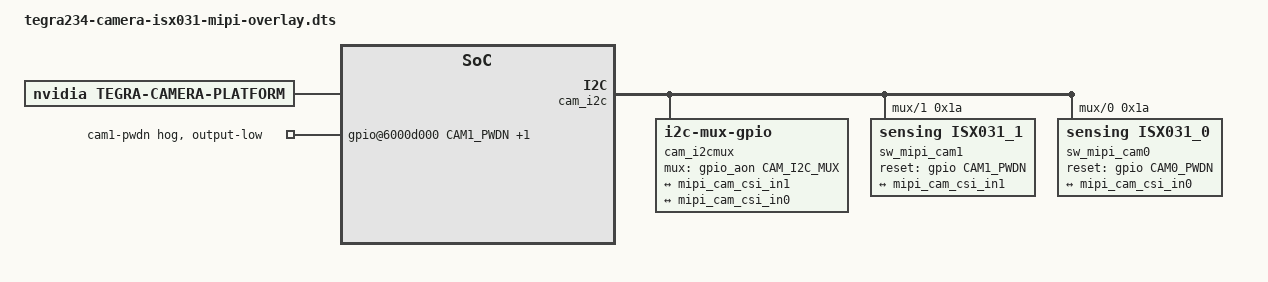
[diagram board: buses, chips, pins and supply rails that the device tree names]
// SPDX-License-Identifier: GPL-2.0-only
// SPDX-FileCopyrightText: Copyright (c) 2023-2024, NVIDIA CORPORATION & AFFILIATES. All rights reserved.

/dts-v1/;
/plugin/;

#define CAM0_PWDN	TEGRA234_MAIN_GPIO(H, 6)
#define CAM1_PWDN	TEGRA234_MAIN_GPIO(AC, 0)
#define CAM_I2C_MUX 	TEGRA234_AON_GPIO(CC, 3)

#include <dt-bindings/tegra234-p3767-0000-common.h>

/ {
	overlay-name = "Camera SG3-MIPI-ISX031";
	jetson-header-name = "Jetson 24pin CSI Connector";
	compatible = JETSON_COMPATIBLE_P3768;
	/* SG2-MIPI-isx031 connected to cam1 port */

	fragment@0 {
		target-path = "/";
		__overlay__ {
			tegra-capture-vi  {
				num-channels = <2>;
				ports {
					#address-cells = <1>;
					#size-cells = <0>;
					port@0 {
						reg = <0>;
						mipi_cam_vi_in0: endpoint {
							port-index = <2>;
							bus-width = <2>;
							remote-endpoint = <&mipi_cam_csi_out0>;
						};
					};
					port@1 {
						reg = <1>;
						mipi_cam_vi_in1: endpoint {
							port-index = <2>;
							bus-width = <4>;
							remote-endpoint = <&mipi_cam_csi_out1>;
						};
					};
				};
			};
			tegra-camera-platform {
				compatible = "nvidia, tegra-camera-platform";

				/**
				* Physical settings to calculate max ISO BW
				*
				* num_csi_lanes = <>;
				* Total number of CSI lanes when all cameras are active
				*
				* max_lane_speed = <>;
				* Max lane speed in Kbit/s
				*
				* min_bits_per_pixel = <>;
				* Min bits per pixel
				*
				* vi_peak_byte_per_pixel = <>;
				* Max byte per pixel for the VI ISO case
				*
				* vi_bw_margin_pct = <>;
				* Vi bandwidth margin in percentage
				*
				* max_pixel_rate = <>;
				* Max pixel rate in Kpixel/s for the ISP ISO case
				*
				* isp_peak_byte_per_pixel = <>;
				* Max byte per pixel for the ISP ISO case
				*
				* isp_bw_margin_pct = <>;
				* Isp bandwidth margin in percentage
				*/
				num_csi_lanes = <4>;
				max_lane_speed = <1500000>;
				min_bits_per_pixel = <10>;
				vi_peak_byte_per_pixel = <2>;
				vi_bw_margin_pct = <25>;
				max_pixel_rate = <7500000>;
				isp_peak_byte_per_pixel = <5>;
				isp_bw_margin_pct = <25>;

				/**
				 * The general guideline for naming badge_info contains 3 parts, and is as follows,
				 * The first part is the camera_board_id for the module; if the module is in a FFD
				 * platform, then use the platform name for this part.
				 * The second part contains the position of the module, ex. "rear" or "front".
				 * The third part contains the last 6 characters of a part number which is found
				 * in the module's specsheet from the vendor.
				 */
				modules {
					module0 {
						
						badge = "sgx_rear_isx031";
						position = "rear";
						orientation = "1";
						drivernode0 {
							pcl_id = "v4l2_sensor";
							sysfs-device-tree = "/sys/firmware/devicetree/base/bus@0/cam_i2cmux/i2c@1/cam_0@1a";
						};
					};
					module1 {
						badge = "sgx_front_isx031";
						position = "front";
						orientation = "1";
						drivernode0 {
							pcl_id = "v4l2_sensor";
							sysfs-device-tree = "/sys/firmware/devicetree/base/bus@0/cam_i2cmux/i2c@0/cam_1@1a";
						};
					};
				};
			};
			bus@0 {
				host1x@13e00000 {
					nvcsi@15a00000 {
						num-channels = <2>;
						#address-cells = <1>;
						#size-cells = <0>;
						channel@0 {
							reg = <0>;
							ports {
								#address-cells = <1>;
								#size-cells = <0>;
								port@0 {
									reg = <0>;
									mipi_cam_csi_in0: endpoint@0 {
										port-index = <2>;
										bus-width = <2>;
										remote-endpoint = <&mipi_cam_out0>;
									};
								};
								port@1 {
									reg = <1>;
									mipi_cam_csi_out0: endpoint@1 {
										remote-endpoint = <&mipi_cam_vi_in0>;
									};
								};
							};
						};
						channel@1 {
							reg = <1>;
							ports {
								#address-cells = <1>;
								#size-cells = <0>;
								port@0 {
									reg = <0>;
									mipi_cam_csi_in1: endpoint@2 {
										port-index = <2>;
										bus-width = <4>;
										remote-endpoint = <&mipi_cam_out1>;
									};
								};
								port@1 {
									reg = <1>;
									mipi_cam_csi_out1: endpoint@3 {
										remote-endpoint = <&mipi_cam_vi_in1>;
									};
								};
							};
						};
					};
				};
				cam_i2cmux {
					status = "okay";
					compatible = "i2c-mux-gpio";
					#address-cells = <1>;
					#size-cells = <0>;
					mux-gpios = <&gpio_aon CAM_I2C_MUX GPIO_ACTIVE_HIGH>;
					i2c-parent = <&cam_i2c>;
					i2c@0 {
						status = "okay";
						reg = <1>;
						#address-cells = <1>;
						#size-cells = <0>;
						rbpcv2_imx219_a@10 {
							status = "disabled";
						};

						sw_mipi_cam1: cam_1@1a {
							compatible = "sensing,isx031_1";
							/* I2C device address */
							reg = <0x1a>;

							/* V4L2 device node location */
							devnode = "video1";

							/* Physical dimensions of sensor */
							physical_w = "3.680";
							physical_h = "2.760";

							sensor_model = "isx031";				
							
							/* Defines number of frames to be dropped by driver internally after applying */
							/* sensor crop settings. Some sensors send corrupt frames after applying */
							/* crop co-ordinates */
							post_crop_frame_drop = "0";

							/* Convert Gain to unit of dB (decibel) befor passing to kernel driver */
							use_decibel_gain = "true";

							/* if true, delay gain setting by one frame to be in sync with exposure */
							delayed_gain = "true";

							/* enable CID_SENSOR_MODE_ID for sensor modes selection */

							use_sensor_mode_id = "true";

							reset-gpios = <&gpio CAM1_PWDN GPIO_ACTIVE_HIGH>;

							mode0 {/*mode SENSOR_MODE_1920X1080_CROP_30FPS*/
								mclk_khz = "24000";
								num_lanes = "4";
								tegra_sinterface = "serial_c";
								phy_mode = "DPHY";
								discontinuous_clk = "no";
								dpcm_enable = "false";
								cil_settletime = "0";
								lane_polarity = "0";

								active_w = "1920";
								active_h = "1536";
								mode_type = "yuv";
								pixel_phase = "uyvy";
								csi_pixel_bit_depth = "16";
								dynamic_pixel_bit_depth = "16";
								readout_orientation = "0";
								line_length = "2200";
								inherent_gain = "1";
								mclk_multiplier = "6.1875";
								pix_clk_hz = "216000000";
								//serdes_pix_clk_hz = "300000000";
													
								gain_factor = "10";
								min_gain_val = "10"; /* dB */
								max_gain_val = "300"; /* dB */
								step_gain_val = "3"; /* 0.3 */
								default_gain = "10";
								min_hdr_ratio = "1";
								max_hdr_ratio = "1";
								framerate_factor = "1000000";
								min_framerate = "30000000";
								max_framerate = "30000000";
								step_framerate = "1";
								default_framerate = "30000000";
								exposure_factor = "1000000";
								min_exp_time = "59"; /*us, 2 lines*/
								max_exp_time = "33333";
								step_exp_time = "1";
								default_exp_time = "33333";/* us */
								embedded_metadata_height = "0";

						};

						ports {
							#address-cells = <1>;
							#size-cells = <0>;

							port@0 {
								reg = <0>;
								mipi_cam_out1: endpoint {
									port-index = <2>;
									bus-width = <4>;
									remote-endpoint = <&mipi_cam_csi_in1>;
								};
							};
						};
						};
					};
					i2c@1 {
						status = "okay";
						reg = <0>;
						#address-cells = <1>;
						#size-cells = <0>;
						rbpcv2_imx219_c@10 {
							status = "disabled";
						};
						sw_mipi_cam0: cam_0@1a {
							compatible = "sensing,isx031_0";
							/* I2C device address */
							reg = <0x1a>;

							/* V4L2 device node location */
							devnode = "video0";

							/* Physical dimensions of sensor */
							physical_w = "3.680";
							physical_h = "2.760";

							sensor_model = "isx031";				
							
							/* Defines number of frames to be dropped by driver internally after applying */
							/* sensor crop settings. Some sensors send corrupt frames after applying */
							/* crop co-ordinates */
							post_crop_frame_drop = "0";

							/* Convert Gain to unit of dB (decibel) befor passing to kernel driver */
							use_decibel_gain = "true";

							/* if true, delay gain setting by one frame to be in sync with exposure */
							delayed_gain = "true";

							/* enable CID_SENSOR_MODE_ID for sensor modes selection */

							use_sensor_mode_id = "true";

							reset-gpios = <&gpio CAM0_PWDN GPIO_ACTIVE_HIGH>;

							mode0 { 
								mclk_khz = "24000";
								num_lanes = "2";
								tegra_sinterface = "serial_b";
								phy_mode = "DPHY";
								discontinuous_clk = "no";
								dpcm_enable = "false";
								cil_settletime = "0";
								lane_polarity = "6";

								active_w = "1920";
								active_h = "1080";
								mode_type = "bayer";
								pixel_phase = "rggb";
								csi_pixel_bit_depth = "12";
								dynamic_pixel_bit_depth = "12";
								readout_orientation = "0";
								line_length = "4400";
								inherent_gain = "1";
								mclk_multiplier = "6.1875";
								pix_clk_hz = "148500000";

								gain_factor = "10";
								min_gain_val = "10"; /* dB */
								max_gain_val = "300"; /* dB */
								step_gain_val = "3"; /* 0.3 */
								default_gain = "10";
								min_hdr_ratio = "1";
								max_hdr_ratio = "1";
								framerate_factor = "1000000";
								min_framerate = "30000000";
								max_framerate = "30000000";
								step_framerate = "1";
								default_framerate = "30000000";
								exposure_factor = "1000000";
								min_exp_time = "3000"; /*us, 2 lines*/
								max_exp_time = "3000";
								step_exp_time = "1";
								default_exp_time = "3000";/* us */
								embedded_metadata_height = "1";
							};
							ports {
								#address-cells = <1>;
								#size-cells = <0>;

								port@0 {
									reg = <0>;
									mipi_cam_out0: endpoint {
										port-index = <2>;
										bus-width = <2>;
										remote-endpoint = <&mipi_cam_csi_in0>;
									};
								};
							};
						};
					};
				};
				gpio@6000d000 {
					camera-control-output-low {
						gpio-hog;
						output-low;
						gpios = <CAM1_PWDN 0  CAM0_PWDN 0>;
						label = "cam1-pwdn", "cam0-pwdn";
					};
				};
			};
		};
	};
};
